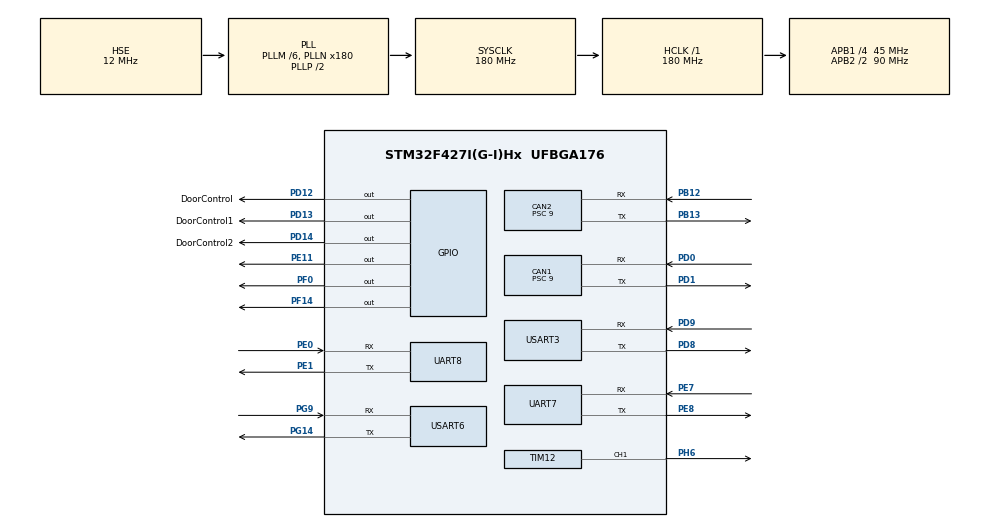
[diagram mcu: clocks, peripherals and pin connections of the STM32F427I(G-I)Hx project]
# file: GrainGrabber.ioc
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CAN1.BS1=CAN_BS1_3TQ
CAN1.CalculateBaudRate=1000000
CAN1.CalculateTimeBit=1000
CAN1.CalculateTimeQuantum=200.0
CAN1.Prescaler=9
CAN2.BS1=CAN_BS1_3TQ
CAN2.CalculateBaudRate=1000000
CAN2.CalculateTimeBit=1000
CAN2.CalculateTimeQuantum=200.0
CAN2.Prescaler=9
Dma.Request0=USART6_RX
Dma.Request1=UART7_RX
Dma.Request2=USART3_RX
Dma.Request3=UART8_RX
Dma.UART7_RX.1.Direction=DMA_PERIPH_TO_MEMORY
Dma.UART7_RX.1.FIFOMode=DMA_FIFOMODE_DISABLE
Dma.UART7_RX.1.Instance=DMA1_Stream3
Dma.UART7_RX.1.MemDataAlignment=DMA_MDATAALIGN_BYTE
Dma.UART7_RX.1.MemInc=DMA_MINC_ENABLE
Dma.UART7_RX.1.Mode=DMA_NORMAL
Dma.UART7_RX.1.PeriphDataAlignment=DMA_PDATAALIGN_BYTE
Dma.UART7_RX.1.PeriphInc=DMA_PINC_DISABLE
Dma.UART7_RX.1.Priority=DMA_PRIORITY_LOW
Dma.UART8_RX.3.Direction=DMA_PERIPH_TO_MEMORY
Dma.UART8_RX.3.FIFOMode=DMA_FIFOMODE_DISABLE
Dma.UART8_RX.3.Instance=DMA1_Stream6
Dma.UART8_RX.3.MemDataAlignment=DMA_MDATAALIGN_BYTE
Dma.UART8_RX.3.MemInc=DMA_MINC_ENABLE
Dma.UART8_RX.3.Mode=DMA_NORMAL
Dma.UART8_RX.3.PeriphDataAlignment=DMA_PDATAALIGN_BYTE
Dma.UART8_RX.3.PeriphInc=DMA_PINC_DISABLE
Dma.UART8_RX.3.Priority=DMA_PRIORITY_LOW
Dma.USART3_RX.2.Direction=DMA_PERIPH_TO_MEMORY
Dma.USART3_RX.2.FIFOMode=DMA_FIFOMODE_DISABLE
Dma.USART3_RX.2.Instance=DMA1_Stream1
Dma.USART3_RX.2.MemDataAlignment=DMA_MDATAALIGN_BYTE
Dma.USART3_RX.2.MemInc=DMA_MINC_ENABLE
Dma.USART3_RX.2.Mode=DMA_NORMAL
Dma.USART3_RX.2.PeriphDataAlignment=DMA_PDATAALIGN_BYTE
Dma.USART3_RX.2.PeriphInc=DMA_PINC_DISABLE
Dma.USART3_RX.2.Priority=DMA_PRIORITY_HIGH
Dma.USART6_RX.0.Direction=DMA_PERIPH_TO_MEMORY
Dma.USART6_RX.0.FIFOMode=DMA_FIFOMODE_DISABLE
Dma.USART6_RX.0.Instance=DMA2_Stream1
Dma.USART6_RX.0.MemDataAlignment=DMA_MDATAALIGN_BYTE
Dma.USART6_RX.0.MemInc=DMA_MINC_ENABLE
Dma.USART6_RX.0.Mode=DMA_NORMAL
Dma.USART6_RX.0.PeriphDataAlignment=DMA_PDATAALIGN_BYTE
Dma.USART6_RX.0.PeriphInc=DMA_PINC_DISABLE
Dma.USART6_RX.0.Priority=DMA_PRIORITY_MEDIUM
FREERTOS.BinarySemaphores01=ChassisMoveDone,Dynamic,NULL,Available;ScaraMoveDone,Dynamic,NULL,Available
FREERTOS.Tasks01=ChassisTask,40,1024,StartChassisTask,Default,NULL,Dynamic,NULL,NULL;MainTask,16,512,StartMainTask,Default,NULL,Dynamic,NULL,NULL
Mcu.Family=STM32F4
Mcu.Name=STM32F427I(G-I)Hx
Mcu.Package=UFBGA176
NVIC.CAN1_RX0_IRQn=true\:5\:0\:true\:false\:true\:true\:true\:true\:true
NVIC.CAN2_RX0_IRQn=true\:5\:0\:false\:false\:true\:true\:true\:true\:true
NVIC.DMA1_Stream1_IRQn=true\:5\:0\:false\:false\:true\:true\:false\:true\:true
NVIC.DMA1_Stream3_IRQn=true\:6\:0\:true\:false\:true\:true\:false\:true\:true
NVIC.DMA1_Stream6_IRQn=true\:5\:0\:false\:false\:true\:true\:false\:true\:true
NVIC.DMA2_Stream1_IRQn=true\:7\:0\:true\:false\:true\:true\:false\:true\:true
NVIC.PriorityGroup=NVIC_PRIORITYGROUP_4
NVIC.TIM5_IRQn=true\:6\:0\:true\:false\:true\:true\:true\:true\:true
NVIC.TIM7_IRQn=true\:15\:0\:false\:false\:true\:false\:false\:true\:true
NVIC.TimeBase=TIM7_IRQn
NVIC.TimeBaseIP=TIM7
PA13.Mode=Serial_Wire
PA13.Signal=SYS_JTMS-SWDIO
PA14.Mode=Serial_Wire
PA14.Signal=SYS_JTCK-SWCLK
PB12.Mode=CAN_Activate
PB12.Signal=CAN2_RX
PB13.Mode=CAN_Activate
PB13.Signal=CAN2_TX
PD0.Mode=CAN_Activate
PD0.Signal=CAN1_RX
PD1.Mode=CAN_Activate
PD1.Signal=CAN1_TX
PD12.GPIO_Label=DoorControl
PD12.Signal=GPIO_Output
PD13.GPIO_Label=DoorControl1
PD13.Signal=GPIO_Output
PD14.GPIO_Label=DoorControl2
PD14.Signal=GPIO_Output
PD8.Mode=Asynchronous
PD8.Signal=USART3_TX
PD9.Mode=Asynchronous
PD9.Signal=USART3_RX
PE0.Mode=Asynchronous
PE0.Signal=UART8_RX
PE1.Mode=Asynchronous
PE1.Signal=UART8_TX
PE11.PinState=GPIO_PIN_SET
PE11.Signal=GPIO_Output
PE7.Mode=Asynchronous
PE7.Signal=UART7_RX
PE8.Mode=Asynchronous
PE8.Signal=UART7_TX
PF0.GPIO_PuPd=GPIO_NOPULL
PF0.Signal=GPIO_Output
PF14.PinState=GPIO_PIN_SET
PF14.Signal=GPIO_Output
PG14.Mode=Asynchronous
PG14.Signal=USART6_TX
PG9.Mode=Asynchronous
PG9.Signal=USART6_RX
PH0/OSC_IN.Mode=HSE-External-Oscillator
PH0/OSC_IN.Signal=RCC_OSC_IN
PH1/OSC_OUT.Mode=HSE-External-Oscillator
PH1/OSC_OUT.Signal=RCC_OSC_OUT
PH6.Signal=S_TIM12_CH1
ProjectManager.HeapSize=0x200
ProjectManager.StackSize=0x400
ProjectManager.TargetToolchain=Makefile
RCC.48MHZClocksFreq_Value=90000000
RCC.AHBFreq_Value=180000000
RCC.APB1CLKDivider=RCC_HCLK_DIV4
RCC.APB1Freq_Value=45000000
RCC.APB1TimFreq_Value=90000000
RCC.APB2CLKDivider=RCC_HCLK_DIV2
RCC.APB2Freq_Value=90000000
RCC.APB2TimFreq_Value=180000000
RCC.CortexFreq_Value=180000000
RCC.HCLKFreq_Value=180000000
RCC.HSE_VALUE=12000000
RCC.HSI_VALUE=16000000
RCC.LSE_VALUE=32768
RCC.PLLM=6
RCC.PLLN=180
RCC.PLLSourceVirtual=RCC_PLLSOURCE_HSE
RCC.SYSCLKFreq_VALUE=180000000
RCC.SYSCLKSource=RCC_SYSCLKSOURCE_PLLCLK
RCC.VCOOutputFreq_Value=360000000
SH.S_TIM12_CH1.0=TIM12_CH1,PWM Generation1 CH1
TIM12.Channel-PWM\ Generation1\ CH1=TIM_CHANNEL_1
TIM12.Period=33332
TIM5.Period=2499
TIM5.Prescaler=89
UART7.VirtualMode=Asynchronous
UART8.VirtualMode=Asynchronous
USART3.VirtualMode=VM_ASYNC
USART6.VirtualMode=VM_ASYNC
VP_FREERTOS_VS_CMSIS_V2.Mode=CMSIS_V2
VP_SYS_VS_tim7.Mode=TIM7
VP_TIM5_VS_ClockSourceINT.Mode=Internal
board=custom

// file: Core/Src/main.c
/* USER CODE BEGIN Header */
/**
  ******************************************************************************
  * @file           : main.c
  * @brief          : Main program body
  ******************************************************************************
  * @attention
  *
  * Copyright (c) 2025 STMicroelectronics.
  * All rights reserved.
  *
void Put_Box(uint8_t box_id ,uint8_t dir);
void Move_To_Shelf(void);
void Move_To_Paper(void);
void Move_point_to_point(uint8_t point_1, uint8_t point_2);
void Move_Shelf_Left(void);
void Move_Shelf_Right(void);

/* USER CODE END Header */
#include "main.h"
#include "cmsis_os.h"
#include "can.h"
#include "dma.h"
#include "tim.h"
#include "usart.h"
#include "gpio.h"

/* USER CODE BEGIN Includes */
// #include "car.h"
#include "app.h"
#include "bsp.h"
#include "my_task.h"

/* USER CODE END Includes */

/* USER CODE BEGIN PV */
/// 远程调试串口
uint8_t rxcmd7[16];       // 接收远程串口的数据
uint8_t uart7_rx_flag = 0; // 串口接收标志
char rx_buffer[16];       // 接收缓冲区
uint8_t rx_index = 0;     // 接收索引
float target_speed = 0;    // 目标速度

// 陀螺仪串口
uint8_t rxcmd6_dma[RXCMD6_DMA_SIZE];      // DMA 写入的缓冲区
uint8_t rxcmd6_app[RXCMD6_DMA_SIZE];      // 应用程序读取的缓冲区

//树莓派串口
uint8_t rxcmd3_dma[RXCMD3_DMA_SIZE];
uint8_t move_flag = 0;//是否进行了点到点之间的移动，进行了就需要精调

//舵机串口
uint8_t rxcmd8_dma[RXCMD8_DMA_SIZE];

// 用于检测跳变的omega
volatile float omega_1 = 0;
volatile float omega = 0;                      // 陀螺仪反馈的角度，单位：°
volatile float current_angle_speed = 0;        // 陀螺仪反馈的角速度，单位：°/s
uint32_t last_receive_hwt_time = 0;   // 上一次接收陀螺仪数据的时间

/* USER CODE END PV */

void SystemClock_Config(void);
void MX_FREERTOS_Init(void);

int main(void)
{

  /* MCU Configuration--------------------------------------------------------*/

  /* Reset of all peripherals, Initializes the Flash interface and the Systick. */
  HAL_Init();

  /* Configure the system clock */
  SystemClock_Config();

  /* Initialize all configured peripherals */
  MX_GPIO_Init();
  MX_DMA_Init();
  MX_UART7_Init();
  MX_UART8_Init();
  MX_USART6_UART_Init();
  MX_CAN1_Init();
  MX_TIM12_Init();
  MX_TIM5_Init();
  MX_CAN2_Init();
  MX_USART3_UART_Init();
  /* USER CODE BEGIN 2 */
  HAL_UART_Receive_DMA(&huart3, rxcmd3_dma, RXCMD3_DMA_SIZE);
  HAL_UART_Receive_DMA(&huart8,rxcmd8_dma,RXCMD8_DMA_SIZE);
  memset(rxcmd3_dma, 0, RXCMD3_DMA_SIZE);
  memset(rxcmd8_dma,0,RXCMD8_DMA_SIZE);

  // 初始化CAN1
  CAN_Filter_Config();
  HAL_CAN_Start(&hcan1);
  HAL_CAN_ActivateNotification(&hcan1, CAN_IT_RX_FIFO0_MSG_PENDING);
  /* 初始化CAN2 */
  HAL_CAN_Start(&hcan2);
  HAL_CAN_ActivateNotification(&hcan2, CAN_IT_RX_FIFO0_MSG_PENDING);

  // HAL_TIM_Base_Start_IT(&htim5);

  /* USER CODE END 2 */

  /* Init scheduler */
  osKernelInitialize();

  /* Call init function for freertos objects (in cmsis_os2.c) */
  MX_FREERTOS_Init();

  /* Start scheduler */
  osKernelStart();

  /* We should never get here as control is now taken by the scheduler */

  /* Infinite loop */
  while (1)
  {

  }
}

void SystemClock_Config(void)
{
  RCC_OscInitTypeDef RCC_OscInitStruct = {0};
  RCC_ClkInitTypeDef RCC_ClkInitStruct = {0};

  /** Configure the main internal regulator output voltage
  */
  __HAL_RCC_PWR_CLK_ENABLE();
  __HAL_PWR_VOLTAGESCALING_CONFIG(PWR_REGULATOR_VOLTAGE_SCALE1);

  /** Initializes the RCC Oscillators according to the specified parameters
  * in the RCC_OscInitTypeDef structure.
  */
  RCC_OscInitStruct.OscillatorType = RCC_OSCILLATORTYPE_HSE;
  RCC_OscInitStruct.HSEState = RCC_HSE_ON;
  RCC_OscInitStruct.PLL.PLLState = RCC_PLL_ON;
  RCC_OscInitStruct.PLL.PLLSource = RCC_PLLSOURCE_HSE;
  RCC_OscInitStruct.PLL.PLLM = 6;
  RCC_OscInitStruct.PLL.PLLN = 180;
  RCC_OscInitStruct.PLL.PLLP = RCC_PLLP_DIV2;
  RCC_OscInitStruct.PLL.PLLQ = 4;
  if (HAL_RCC_OscConfig(&RCC_OscInitStruct) != HAL_OK)
  {
    Error_Handler();
  }

  /** Activate the Over-Drive mode
  */
  if (HAL_PWREx_EnableOverDrive() != HAL_OK)
  {
    Error_Handler();
  }

  /** Initializes the CPU, AHB and APB buses clocks
  */
  RCC_ClkInitStruct.ClockType = RCC_CLOCKTYPE_HCLK|RCC_CLOCKTYPE_SYSCLK
                              |RCC_CLOCKTYPE_PCLK1|RCC_CLOCKTYPE_PCLK2;
  RCC_ClkInitStruct.SYSCLKSource = RCC_SYSCLKSOURCE_PLLCLK;
  RCC_ClkInitStruct.AHBCLKDivider = RCC_SYSCLK_DIV1;
  RCC_ClkInitStruct.APB1CLKDivider = RCC_HCLK_DIV4;
  RCC_ClkInitStruct.APB2CLKDivider = RCC_HCLK_DIV2;

  if (HAL_RCC_ClockConfig(&RCC_ClkInitStruct, FLASH_LATENCY_5) != HAL_OK)
  {
    Error_Handler();
  }
}

/* USER CODE BEGIN 4 */

/* CAN接收中断回调函数 */
void HAL_CAN_RxFifo0MsgPendingCallback(CAN_HandleTypeDef *hcan)
{
    CAN_RxHeaderTypeDef RxHeader;
    uint8_t RxData[8];
    // printf("\rCAN receive\r\n");
    /* 获取接收到的消息 */
    if (HAL_CAN_GetRxMessage(hcan, CAN_RX_FIFO0, &RxHeader, RxData) == HAL_OK)
    {
        /* 判断是哪个CAN接口接收到数据 */
        if (hcan->Instance == CAN1)
        {
          uint32_t ext_id = RxHeader.ExtId;
            /* 处理CAN1接收到的数据 */
            if (RxHeader.IDE == CAN_ID_EXT) /* 扩展帧 */
            {
              // printf("CAN ID: 0x%08lX [PRI:%ld, PGN:0x%06lX, SA:0x%02lX]\r\n",
              // ext_id,
              // (ext_id >> 26) & 0x07,    // 优先级
              // (ext_id >> 8) & 0x3FFFF,  // PGN (18-bit)
              // ext_id & 0xFF);           // 源地址
              //   printf("ID=0x%08lX\r\n", RxHeader.ExtId);

              //   printf("DATA:");

              //   for(int i=0;i<RxHeader.DLC;i++)
              //   {
              //       printf("%02X \r\n", RxData[i]);
              //   }

              //   printf("\r\n");
                MIMotor_MotorDataDecode(RxHeader.ExtId, RxData);
            }
        }
        else if (hcan->Instance == CAN2)
        {
            /* 处理CAN2接收到的数据 */
            if (RxHeader.IDE == CAN_ID_EXT) /* 扩展帧 */
            {
                MIMotor_MotorDataDecode(RxHeader.ExtId, RxData);
            }
        }
    }
}

/**
 * @brief  Rx Transfer completed callback
 * @param  huart: UART handle
 * @retval None
 */
void HAL_UART_RxCpltCallback(UART_HandleTypeDef *huart)
{
    //陀螺仪串口
    if (huart == &huart6)
    {
        static int wrap_count = 0;   // 静态本地变量，记录圈数
        static float prev_omega = 0; // 静态本地变量，记录上一次的角度
        // 记录接收时间戳
        last_receive_hwt_time = HAL_GetTick();

        // 将DMA缓冲区数据复制到应用缓冲区
        memcpy(rxcmd6_app, rxcmd6_dma, RXCMD6_DMA_SIZE);
        //  清空DMA缓冲区
        memset(rxcmd6_dma, 0, RXCMD6_DMA_SIZE);

        // 数据帧检测和解析
        for (int i = 0; i < RXCMD6_DMA_SIZE - 7; i++)
        {
          // 检测角度数据帧头(0x55 0x53)
          if (rxcmd6_app[i] == 0x55 && rxcmd6_app[i + 1] == 0x53)
          {
            // 解算角度数据(-180到180度)
            omega_1 = -((float)((int16_t)(rxcmd6_app[i + 7] << 8) | rxcmd6_app[i + 6])) / 32768 * 180;

            // 处理角度跳变，实现多圈角度计算
            if (prev_omega < 180 && prev_omega > 90 && omega_1 < -90 && omega_1 > -180)
            {
              wrap_count++; // 正向跳变
            }
            else if (prev_omega < -90 && prev_omega > -180 && omega_1 > 90 && omega_1 < 180)
            {
              wrap_count--; // 负向跳变
            }
            else
            {
              wrap_count = wrap_count;
            }

            if (omega_1 != 180 && omega_1 != -180)
            {
              // 计算实际角度
              omega = omega_1 + wrap_count * 360.0f;
              prev_omega = omega_1;

            }
          }

          // 检测角速度数据帧头(0x55 0x52)
          if (rxcmd6_app[i] == 0x55 && rxcmd6_app[i + 1] == 0x52)
          {
            // 解算角速度数据
            current_angle_speed = -((float)((int16_t)(rxcmd6_app[i + 7] << 8) | rxcmd6_app[i + 6])) / 32768 * 2000;
          }
        }

        // printf("omega: %.2f, current_angle_speed: %.2f\r\n", omega, current_angle_speed);
        // 重新启动DMA接收
        HAL_UART_Receive_DMA(&huart6, rxcmd6_dma, RXCMD6_DMA_SIZE);
    }

    //远程调试串口
    else if (huart == &huart7)
    {
      uart7_rx_flag = 1;  // 设置接收标志
    }

    // filter servo
    else if (huart == &huart8)
    {
    //舵机串口
        uint8_t data[RXCMD8_DMA_SIZE];
        memcpy(data,rxcmd8_dma,RXCMD8_DMA_SIZE);
        //  清空DMA缓冲区

        Filter_Process_Data(data);
        memset(rxcmd8_dma, 0, RXCMD8_DMA_SIZE);
        // 重新启动DMA接收
        HAL_UART_Receive_DMA(&huart8, rxcmd8_dma, RXCMD8_DMA_SIZE);
    }
    //raspi5
    else if (huart == &huart3)
    {

      // 处理接收到的数据
      Raspi_Process_Data(rxcmd3_dma, RXCMD3_DMA_SIZE);

      // 清空DMA缓冲区
      memset(rxcmd3_dma, 0, RXCMD3_DMA_SIZE);

      // 重新启动DMA接收
      HAL_UART_Receive_DMA(&huart3, rxcmd3_dma, RXCMD3_DMA_SIZE);

    }
}
/* USER CODE END 4 */

void HAL_TIM_PeriodElapsedCallback(TIM_HandleTypeDef *htim)
{
  if (htim->Instance == TIM7)
  {
    HAL_IncTick();
  }
  /* USER CODE BEGIN Callback 1 */
  else if (htim->Instance == TIM5)
  {
    // Update_Scara_Status();
    // add_scara_ctrl();
    // Maintain_End_Rotation();
    static uint8_t state = 0;

       switch(state)
       {
           case 0:
              Update_Scara_Status();
              state = 1;
              break;
           case 1:
               add_scara_ctrl();
              //  add_push_ctrl();
               state = 0;
               break;
      //      case 2:
      //         Maintain_End_Rotation();
      //          state = 0;
      //          break;
       }

  }
  /* USER CODE END Callback 1 */
}

void Error_Handler(void)
{
  __disable_irq();
  while (1)
  {
  }
}

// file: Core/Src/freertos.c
/* USER CODE BEGIN Header */
/**
  ******************************************************************************
  * File Name          : freertos.c
  * Description        : Code for freertos applications
  ******************************************************************************
  * @attention
  *
  * Copyright (c) 2025 STMicroelectronics.
  * All rights reserved.
  *
  * This software is licensed under terms that can be found in the LICENSE file
  * in the root directory of this software component.
  * If no LICENSE file comes with this software, it is provided AS-IS.
  *
  ******************************************************************************
  */
/* USER CODE END Header */

#include "FreeRTOS.h"
#include "task.h"
#include "main.h"
#include "cmsis_os.h"

/* USER CODE BEGIN Includes */
#include "can.h"
#include "dma.h"
#include "tim.h"
#include "usart.h"
#include "gpio.h"
#include "tim.h"
#include "my_task.h"
#include "app.h"
#include "bsp.h"
/* USER CODE END Includes */

/* USER CODE BEGIN Variables */
// 全局状态变量定义
ChassisState_t chassisState = {0};
ScaraState_t scaraState = {0};
/* USER CODE END Variables */
/* Definitions for ChassisTask */
osThreadId_t ChassisTaskHandle;
const osThreadAttr_t ChassisTask_attributes = {
  .name = "ChassisTask",
  .stack_size = 1024 * 4,
  .priority = (osPriority_t) osPriorityHigh,
};
/* Definitions for MainTask */
osThreadId_t MainTaskHandle;
const osThreadAttr_t MainTask_attributes = {
  .name = "MainTask",
  .stack_size = 512 * 4,
  .priority = (osPriority_t) osPriorityBelowNormal,
};
/* Definitions for ChassisMoveDone */
osSemaphoreId_t ChassisMoveDoneHandle;
const osSemaphoreAttr_t ChassisMoveDone_attributes = {
  .name = "ChassisMoveDone"
};
/* Definitions for ScaraMoveDone */
osSemaphoreId_t ScaraMoveDoneHandle;
const osSemaphoreAttr_t ScaraMoveDone_attributes = {
  .name = "ScaraMoveDone"
};

void StartChassisTask(void *argument);
void StartMainTask(void *argument);

void MX_FREERTOS_Init(void); /* (MISRA C 2004 rule 8.1) */

void MX_FREERTOS_Init(void) {

  /* Create the semaphores(s) */
  /* creation of ChassisMoveDone */
  ChassisMoveDoneHandle = osSemaphoreNew(1, 1, &ChassisMoveDone_attributes);

  /* creation of ScaraMoveDone */
  ScaraMoveDoneHandle = osSemaphoreNew(1, 1, &ScaraMoveDone_attributes);

  /* Create the thread(s) */
  /* creation of ChassisTask */
  ChassisTaskHandle = osThreadNew(StartChassisTask, NULL, &ChassisTask_attributes);

  /* creation of MainTask */
  MainTaskHandle = osThreadNew(StartMainTask, NULL, &MainTask_attributes);

}

void StartChassisTask(void *argument)
{
  /* USER CODE BEGIN StartChassisTask */
  /* Infinite loop */
  for(;;)
  {
    // 检查是否有新的移动命令
    // printf("%f,%f\r\n",car->current_map_pos_x,car->current_map_pos_y);
    if (chassisState.moving && !chassisState.done)
    {
      // 根据移动类型执行相应操作
      switch (chassisState.move_type)
      {
        case MOVE_TYPE_POSITION_XYZ:
          // 执行闭环位置控制
          Move_To_Position_XYZ(chassisState.target_x, chassisState.target_y, chassisState.target_z, chassisState.timeout);
          break;

        case MOVE_TYPE_VISION:
          // 执行视觉闭环控制
          Move_By_Vision(chassisState.paper_id, chassisState.timeout);
          break;

        case MOVE_TYPE_EASY:
          // 执行简易闭环控制
          Move_By_Easy(chassisState.target_x, chassisState.target_y, chassisState.target_z, chassisState.timeout);
          break;

        case MOVE_TYPE_TRANSLATION:
          // 执行平移控制
          Move_Translation(chassisState.last_target_index,chassisState.target_index, chassisState.timeout);
          break;

        case MOVE_OPEN_LOOP:
          // 执行开环控制
          Move_Open_Loop(chassisState.target_x, chassisState.target_y, chassisState.target_z, chassisState.timeout);
        default:
          break;
      }

      // 移动完成，更新状态

      // 释放信号量，通知主任务底盘移动已完成
      // printf("Chassis move done, move type: %d\r\n", chassisState.move_type);
    }

    osDelay(10);
  }
  /* USER CODE END StartChassisTask */
}

void StartMainTask(void *argument)
{
  /* USER CODE BEGIN StartMainTask */
  // 初始化
  bsp_init();
  app_init();

  Beep_On();
  osDelay(60);
  Beep_On();
  // osDelay(2000);

  // Beep_On();
  // osDelay(20000);
  // Beep_On();

  // osDelay(osWaitForever);

//第一次启动
//************************************************************************** */
  Init_All();
  // CAN_Send_Test();    //测试CAN通信发送
  // test_Raspi_num();       //测试Raspi通信(数字)
  // test_Raspi();          //测试Raspi通信(包括豆子和apriltag)

  test_chassis();     //全程测试
  // test_omega();       //测试陀螺仪零偏
  // test_sss();
  // test_motor();
  // test_can();           //测试CAN2通信接收
  // test_Grab();          //测试抓取
  // test_lift();           //测试升降
  // test_graber_resend();  //测试转盘&料仓倒料
  // test_door();           //测试气门
  // test_Spin();          //测试转盘
  // test_Push();          //测试曲柄摇杆
  // test_apriltag_data();
//************************************************************************** */

//跑图测试
//*************************************************************************** */
// test_move();
//*************************************************************************** */

//校准
//*************************************************************************** */
// Init_All();
// Scara_Return_Home();
// Filter_Calibrate_Center_Position(SPIN_SERVO);
// auto_offset_omega();
// Beep_On
//*************************************************************************** */

//其他
  // Grab_Off();
  // Grab_On();
  // Start_Scara();
  // Car_Stop(1);
  // Move_To_Position_XYZ_NonBlocking(500,2000,180,15000);
  // Move_point_to_point(0,1);
  // push_Move_To_Height(9);
  // Start_Scara();
  // Move_By_Vision(0,100000);
  // Beep_On();

  /* Infinite loop */
  for(;;)
  {
    osDelay(1000);
    // printf("omega: %f\r\n", omega);
  }
  /* USER CODE END StartMainTask */
}
